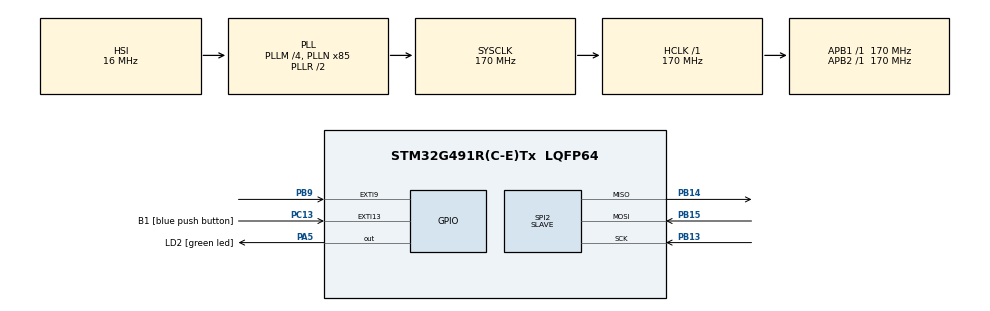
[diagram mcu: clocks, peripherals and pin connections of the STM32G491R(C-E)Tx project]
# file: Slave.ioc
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Dma.Request0=SPI2_RX
Dma.SPI2_RX.0.Direction=DMA_PERIPH_TO_MEMORY
Dma.SPI2_RX.0.EventEnable=DISABLE
Dma.SPI2_RX.0.Instance=DMA1_Channel1
Dma.SPI2_RX.0.MemDataAlignment=DMA_MDATAALIGN_BYTE
Dma.SPI2_RX.0.MemInc=DMA_MINC_ENABLE
Dma.SPI2_RX.0.Mode=DMA_NORMAL
Dma.SPI2_RX.0.PeriphDataAlignment=DMA_PDATAALIGN_BYTE
Dma.SPI2_RX.0.PeriphInc=DMA_PINC_DISABLE
Dma.SPI2_RX.0.Polarity=HAL_DMAMUX_REQ_GEN_RISING
Dma.SPI2_RX.0.Priority=DMA_PRIORITY_LOW
Dma.SPI2_RX.0.RequestNumber=1
Dma.SPI2_RX.0.SignalID=NONE
Dma.SPI2_RX.0.SyncEnable=DISABLE
Dma.SPI2_RX.0.SyncPolarity=HAL_DMAMUX_SYNC_NO_EVENT
Dma.SPI2_RX.0.SyncRequestNumber=1
Dma.SPI2_RX.0.SyncSignalID=NONE
Mcu.Family=STM32G4
Mcu.Name=STM32G491R(C-E)Tx
Mcu.Package=LQFP64
NVIC.DMA1_Channel1_IRQn=true\:0\:0\:false\:false\:true\:false\:true\:true
NVIC.EXTI15_10_IRQn=true\:0\:0\:false\:false\:true\:true\:true\:true
NVIC.EXTI9_5_IRQn=true\:0\:0\:false\:false\:true\:true\:true\:true
NVIC.PriorityGroup=NVIC_PRIORITYGROUP_4
NVIC.SPI2_IRQn=true\:0\:0\:false\:false\:true\:true\:true\:true
PA13.GPIO_Label=T_SWDIO
PA13.Signal=SYS_JTMS-SWDIO
PA14.GPIO_Label=T_SWCLK
PA14.Signal=SYS_JTCK-SWCLK
PA2.GPIO_Label=LPUART1_TX [STLINKV3E_VCP_RX]
PA2.Signal=LPUART1_TX
PA3.GPIO_Label=LPUART1_RX [STLINKV3E_VCP_TX]
PA3.Signal=LPUART1_RX
PA5.GPIO_Label=LD2 [green led]
PA5.Signal=GPIO_Output
PB13.Mode=Full_Duplex_Slave
PB13.Signal=SPI2_SCK
PB14.Mode=Full_Duplex_Slave
PB14.Signal=SPI2_MISO
PB15.Mode=Full_Duplex_Slave
PB15.Signal=SPI2_MOSI
PB3.GPIO_Label=T_SWO
PB3.Signal=SYS_JTDO-SWO
PB9.GPIO_ModeDefaultEXTI=GPIO_MODE_IT_FALLING
PB9.GPIO_PuPd=GPIO_PULLUP
PB9.Signal=GPXTI9
PC13.GPIO_Label=B1 [blue push button]
PC13.Signal=GPXTI13
PC14-OSC32_IN.GPIO_Label=RCC_OSC32_IN
PC14-OSC32_IN.Signal=RCC_OSC32_IN
PC15-OSC32_OUT.GPIO_Label=RCC_OSC32_OUT
PC15-OSC32_OUT.Signal=RCC_OSC32_OUT
PF0-OSC_IN.GPIO_Label=RCC_OSC_IN
PF0-OSC_IN.Signal=RCC_OSC_IN
PF1-OSC_OUT.GPIO_Label=RCC_OSC_OUT
PF1-OSC_OUT.Signal=RCC_OSC_OUT
ProjectManager.HeapSize=0x200
ProjectManager.StackSize=0x400
ProjectManager.TargetToolchain=STM32CubeIDE
RCC.ADC12Freq_Value=170000000
RCC.ADC345Freq_Value=170000000
RCC.AHBFreq_Value=170000000
RCC.APB1Freq_Value=170000000
RCC.APB1TimFreq_Value=170000000
RCC.APB2Freq_Value=170000000
RCC.APB2TimFreq_Value=170000000
RCC.CortexFreq_Value=170000000
RCC.EXTERNAL_CLOCK_VALUE=12288000
RCC.HCLKFreq_Value=170000000
RCC.HSE_VALUE=24000000
RCC.HSI48_VALUE=48000000
RCC.HSI_VALUE=16000000
RCC.LSE_VALUE=32768
RCC.PLLM=RCC_PLLM_DIV4
RCC.PLLN=85
RCC.RTCClockSelection=RCC_RTCCLKSOURCE_LSE
RCC.SYSCLKFreq_VALUE=170000000
RCC.SYSCLKSource=RCC_SYSCLKSOURCE_PLLCLK
RCC.USBFreq_Value=48000000
RCC.VCOOutputFreq_Value=340000000
SPI2.DataSize=SPI_DATASIZE_8BIT
SPI2.Direction=SPI_DIRECTION_2LINES
SPI2.Mode=SPI_MODE_SLAVE
SPI2.VirtualType=VM_SLAVE
VP_CRC_VS_CRC.Mode=CRC_Activate
VP_SYS_VS_DBSignals.Mode=DisableDeadBatterySignals
board=NUCLEO-G491RE

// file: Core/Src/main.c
/* SLAVE USER CODE BEGIN Header */
/**
  ******************************************************************************
  * @file           : main.c
  * @brief          : Main program body
  ******************************************************************************
  * @attention
  *
  * Copyright (c) 2026 STMicroelectronics.
  * All rights reserved.
  *
  * This software is licensed under terms that can be found in the LICENSE file
  * in the root directory of this software component.
  * If no LICENSE file comes with this software, it is provided AS-IS.
  *
  ******************************************************************************
  */
/* USER CODE END Header */
#include "main.h"

/* USER CODE BEGIN Includes */
#include <string.h>
/* USER CODE END Includes */

/* USER CODE BEGIN PTD */
#define DATA_SIZE 512

// Structure de la trame de 520 octets
typedef struct __attribute__((packed)) {
    uint8_t  cmd;           // 0x01: Write, 0x02: Erase, 0x03: Jump
    uint32_t addr;          // Adresse Flash de destination
    uint16_t len;           // Toujours 512
    uint8_t  data[DATA_SIZE]; // Les données à flasher
    uint8_t  crc;           // XOR de vérification
} SpiFrame_t;
/* USER CODE END PTD */

CRC_HandleTypeDef hcrc;

SPI_HandleTypeDef hspi2;
DMA_HandleTypeDef hdma_spi2_rx;

/* USER CODE BEGIN PV */
SpiFrame_t buffer_A;
SpiFrame_t buffer_B;

SpiFrame_t *dma_buffer = &buffer_A;
SpiFrame_t *cpu_buffer = &buffer_B;

volatile uint8_t rx_ready = 0; // Flag de réception

volatile uint8_t nss_triggered = 0;

volatile uint32_t dbg_exti_count = 0;     // Nombre de fois où le NSS (PB9) est descendu
volatile uint32_t dbg_rx_count = 0;       // Nombre de fois où le DMA a fini de recevoir 520 octets
volatile uint32_t dbg_success_count = 0;  // Nombre de trames parfaites (CRC et CMD OK)
volatile uint32_t dbg_crc_err_count = 0;  // Nombre d'erreurs de CRC
volatile uint32_t dbg_cmd_err_count = 0;  // Nombre de commandes inconnues
/* USER CODE END PV */

void SystemClock_Config(void);
static void MX_GPIO_Init(void);
static void MX_DMA_Init(void);
static void MX_SPI2_Init(void);
static void MX_CRC_Init(void);

/* USER CODE BEGIN 0 */
static HAL_StatusTypeDef Safe_Flash_Write(uint32_t target_addr, uint8_t *data_ptr, uint16_t length)
{
    HAL_FLASH_Unlock();
    __HAL_FLASH_CLEAR_FLAG(FLASH_FLAG_ALL_ERRORS);

    HAL_StatusTypeDef flash_status = HAL_OK;

    // Écrire par double-mots (8 octets)
    for (uint32_t i = 0; i < length; i += 8)
    {
        uint64_t double_word = 0;
        uint16_t to_copy = (length - i) >= 8 ? 8 : (length - i);
        memcpy(&double_word, &data_ptr[i], to_copy);

        flash_status = HAL_FLASH_Program(FLASH_TYPEPROGRAM_DOUBLEWORD,
                                        target_addr + i,
                                        double_word);

        if (flash_status != HAL_OK) {
            dbg_cmd_err_count = HAL_FLASH_GetError();
            break;
        }
    }

    HAL_FLASH_Lock();
    return flash_status;
}
/* USER CODE END 0 */

int main(void)
{

  /* MCU Configuration--------------------------------------------------------*/

  /* Reset of all peripherals, Initializes the Flash interface and the Systick. */
  HAL_Init();

  /* Configure the system clock */
  SystemClock_Config();

  /* Initialize all configured peripherals */
  MX_GPIO_Init();
  MX_DMA_Init();
  MX_SPI2_Init();
  MX_CRC_Init();
  /* USER CODE BEGIN 2 */
  HAL_SPI_Receive_DMA(&hspi2, (uint8_t*)dma_buffer, sizeof(SpiFrame_t));
  /* USER CODE END 2 */

  /* Infinite loop */
  /* USER CODE BEGIN WHILE */
  /* Infinite loop */
    /* USER CODE BEGIN WHILE */
    while (1)
    {
        /* --- BLOC 1 : TRAITEMENT DES DONNÉES REÇUES --- */
    	/* --- BLOC 1 : TRAITEMENT DES DONNÉES REÇUES --- */
    	    if (rx_ready)
    	    {
    	        // ✅ Calcul du CRC sur les 512 octets
    	        uint8_t calc_crc = 0;
    	        for(int i = 0; i < DATA_SIZE; i++) {
    	            calc_crc ^= cpu_buffer->data[i];
    	        }

    	        // ✅ Vérification d'intégrité
    	        if (calc_crc == cpu_buffer->crc)
    	        {
    	            uint32_t target_addr;
    	            memcpy(&target_addr, &cpu_buffer->addr, sizeof(uint32_t));

    	            // ✅ COMMANDE 0x01 : WRITE
    	            if (cpu_buffer->cmd == 0x01)
    	            {
    	                if (Safe_Flash_Write(target_addr, cpu_buffer->data, DATA_SIZE) == HAL_OK) {
    	                    dbg_success_count++;
    	                    HAL_GPIO_TogglePin(LD2_GPIO_Port, LD2_Pin);
    	                } else {
    	                    dbg_cmd_err_count++;
    	                }
    	            }

    	            // ✅ COMMANDE 0x02 : ERASE
    	            else if (cpu_buffer->cmd == 0x02)
    	            {
    	                HAL_FLASH_Unlock();
    	                __HAL_FLASH_CLEAR_FLAG(FLASH_FLAG_ALL_ERRORS);

    	                uint32_t page_number = (target_addr - 0x08000000) / FLASH_PAGE_SIZE;
    	                FLASH_EraseInitTypeDef EraseInitStruct = {
    	                    .TypeErase = FLASH_TYPEERASE_PAGES,
    	                    .Banks     = FLASH_BANK_1,
    	                    .Page      = page_number,
    	                    .NbPages   = 1
    	                };

    	                uint32_t PageError = 0;
    	                if (HAL_FLASHEx_Erase(&EraseInitStruct, &PageError) == HAL_OK) {
    	                    dbg_success_count++;
    	                    HAL_GPIO_WritePin(LD2_GPIO_Port, LD2_Pin, GPIO_PIN_SET);
    	                    HAL_Delay(5);
    	                    HAL_GPIO_WritePin(LD2_GPIO_Port, LD2_Pin, GPIO_PIN_RESET);
    	                } else {
    	                    dbg_cmd_err_count++;
    	                }
    	                HAL_FLASH_Lock();
    	            }

    	            // ✅ COMMANDE 0x04 : VERIFY
    	            else if (cpu_buffer->cmd == 0x04)
    	            {
    	                uint32_t total_len = cpu_buffer->len;
    	                uint32_t start_addr = target_addr;
    	                uint8_t slave_checksum = 0;

    	                // Calcul du XOR
    	                for (uint32_t i = 0; i < total_len; i++) {
    	                    slave_checksum ^= *(__IO uint8_t*)(start_addr + i);
    	                }

    	                // ✅ Attendre que le Master soit prêt à recevoir (NSS doit être BAS)
    	                // On utilise une petite boucle pour se synchroniser si le Master a fait un HAL_Delay
    	                uint32_t timeout = HAL_GetTick() + 100;
    	                while(HAL_GPIO_ReadPin(GPIOB, GPIO_PIN_9) == GPIO_PIN_SET && HAL_GetTick() < timeout);

    	                // Envoi au Master
    	                HAL_SPI_Transmit(&hspi2, &slave_checksum, 1, 50);
    	                dbg_success_count++;
    	            }
    	        }
    	        else
    	        {
    	            dbg_crc_err_count++;  // Erreur CRC détectée
    	        }

    	        // ✅ Libérer le flag seulement après traitement complet
    	        rx_ready = 0;
    	    }

    	    /* --- BLOC 2 : RELANCE DU DMA --- */

    	    if (nss_triggered && rx_ready == 0)
    	    {
    	        nss_triggered = 0;

    	        // 1. Arrêt propre du SPI pour réinitialiser les compteurs DMA internes
    	        HAL_SPI_Abort(&hspi2);

    	        // 2. Nettoyage des drapeaux d'erreur (crucial pour l'Overrun)
    	        __HAL_SPI_CLEAR_OVRFLAG(&hspi2);
    	        __HAL_SPI_CLEAR_FREFLAG(&hspi2);

    	        // 3. Vider le FIFO de réception (spécifique à la série G4)
    	        while(__HAL_SPI_GET_FLAG(&hspi2, SPI_FLAG_RXNE)) {
    	            volatile uint8_t dummy = hspi2.Instance->DR;
    	            (void)dummy;
    	        }

    	        // 4. Relancer la réception sur le buffer DMA
    	        HAL_SPI_Receive_DMA(&hspi2, (uint8_t*)dma_buffer, sizeof(SpiFrame_t));
    	    }

    /* USER CODE END WHILE */
    /* USER CODE BEGIN 3 */
    }
    /* USER CODE END 3 */ // <-- 1. FERMETURE DU "while (1)"
  /* USER CODE END 3 */
}

void SystemClock_Config(void)
{
  RCC_OscInitTypeDef RCC_OscInitStruct = {0};
  RCC_ClkInitTypeDef RCC_ClkInitStruct = {0};

  /** Configure the main internal regulator output voltage
  */
  HAL_PWREx_ControlVoltageScaling(PWR_REGULATOR_VOLTAGE_SCALE1_BOOST);

  /** Initializes the RCC Oscillators according to the specified parameters
  * in the RCC_OscInitTypeDef structure.
  */
  RCC_OscInitStruct.OscillatorType = RCC_OSCILLATORTYPE_HSI;
  RCC_OscInitStruct.HSIState = RCC_HSI_ON;
  RCC_OscInitStruct.HSICalibrationValue = RCC_HSICALIBRATION_DEFAULT;
  RCC_OscInitStruct.PLL.PLLState = RCC_PLL_ON;
  RCC_OscInitStruct.PLL.PLLSource = RCC_PLLSOURCE_HSI;
  RCC_OscInitStruct.PLL.PLLM = RCC_PLLM_DIV4;
  RCC_OscInitStruct.PLL.PLLN = 85;
  RCC_OscInitStruct.PLL.PLLP = RCC_PLLP_DIV2;
  RCC_OscInitStruct.PLL.PLLQ = RCC_PLLQ_DIV2;
  RCC_OscInitStruct.PLL.PLLR = RCC_PLLR_DIV2;
  if (HAL_RCC_OscConfig(&RCC_OscInitStruct) != HAL_OK)
  {
    Error_Handler();
  }

  /** Initializes the CPU, AHB and APB buses clocks
  */
  RCC_ClkInitStruct.ClockType = RCC_CLOCKTYPE_HCLK|RCC_CLOCKTYPE_SYSCLK
                              |RCC_CLOCKTYPE_PCLK1|RCC_CLOCKTYPE_PCLK2;
  RCC_ClkInitStruct.SYSCLKSource = RCC_SYSCLKSOURCE_PLLCLK;
  RCC_ClkInitStruct.AHBCLKDivider = RCC_SYSCLK_DIV1;
  RCC_ClkInitStruct.APB1CLKDivider = RCC_HCLK_DIV1;
  RCC_ClkInitStruct.APB2CLKDivider = RCC_HCLK_DIV1;

  if (HAL_RCC_ClockConfig(&RCC_ClkInitStruct, FLASH_LATENCY_4) != HAL_OK)
  {
    Error_Handler();
  }
}

static void MX_CRC_Init(void)
{

  hcrc.Instance = CRC;
  hcrc.Init.DefaultPolynomialUse = DEFAULT_POLYNOMIAL_ENABLE;
  hcrc.Init.DefaultInitValueUse = DEFAULT_INIT_VALUE_ENABLE;
  hcrc.Init.InputDataInversionMode = CRC_INPUTDATA_INVERSION_NONE;
  hcrc.Init.OutputDataInversionMode = CRC_OUTPUTDATA_INVERSION_DISABLE;
  hcrc.InputDataFormat = CRC_INPUTDATA_FORMAT_BYTES;
  if (HAL_CRC_Init(&hcrc) != HAL_OK)
  {
    Error_Handler();
  }

}

static void MX_SPI2_Init(void)
{

  /* SPI2 parameter configuration*/
  hspi2.Instance = SPI2;
  hspi2.Init.Mode = SPI_MODE_SLAVE;
  hspi2.Init.Direction = SPI_DIRECTION_2LINES;
  hspi2.Init.DataSize = SPI_DATASIZE_8BIT;
  hspi2.Init.CLKPolarity = SPI_POLARITY_LOW;
  hspi2.Init.CLKPhase = SPI_PHASE_1EDGE;
  hspi2.Init.NSS = SPI_NSS_SOFT;
  hspi2.Init.FirstBit = SPI_FIRSTBIT_MSB;
  hspi2.Init.TIMode = SPI_TIMODE_DISABLE;
  hspi2.Init.CRCCalculation = SPI_CRCCALCULATION_DISABLE;
  hspi2.Init.CRCPolynomial = 7;
  hspi2.Init.CRCLength = SPI_CRC_LENGTH_DATASIZE;
  hspi2.Init.NSSPMode = SPI_NSS_PULSE_DISABLE;
  if (HAL_SPI_Init(&hspi2) != HAL_OK)
  {
    Error_Handler();
  }

}

static void MX_DMA_Init(void)
{

  /* DMA controller clock enable */
  __HAL_RCC_DMAMUX1_CLK_ENABLE();
  __HAL_RCC_DMA1_CLK_ENABLE();

  /* DMA interrupt init */
  /* DMA1_Channel1_IRQn interrupt configuration */
  HAL_NVIC_SetPriority(DMA1_Channel1_IRQn, 0, 0);
  HAL_NVIC_EnableIRQ(DMA1_Channel1_IRQn);

}

static void MX_GPIO_Init(void)
{
  GPIO_InitTypeDef GPIO_InitStruct = {0};

  /* GPIO Ports Clock Enable */
  __HAL_RCC_GPIOC_CLK_ENABLE();
  __HAL_RCC_GPIOF_CLK_ENABLE();
  __HAL_RCC_GPIOA_CLK_ENABLE();
  __HAL_RCC_GPIOB_CLK_ENABLE();

  /*Configure GPIO pin Output Level */
  HAL_GPIO_WritePin(LD2_GPIO_Port, LD2_Pin, GPIO_PIN_RESET);

  /*Configure GPIO pin : B1_Pin */
  GPIO_InitStruct.Pin = B1_Pin;
  GPIO_InitStruct.Mode = GPIO_MODE_IT_RISING;
  GPIO_InitStruct.Pull = GPIO_NOPULL;
  HAL_GPIO_Init(B1_GPIO_Port, &GPIO_InitStruct);

  /*Configure GPIO pins : LPUART1_TX_Pin LPUART1_RX_Pin */
  GPIO_InitStruct.Pin = LPUART1_TX_Pin|LPUART1_RX_Pin;
  GPIO_InitStruct.Mode = GPIO_MODE_AF_PP;
  GPIO_InitStruct.Pull = GPIO_NOPULL;
  GPIO_InitStruct.Speed = GPIO_SPEED_FREQ_LOW;
  GPIO_InitStruct.Alternate = GPIO_AF12_LPUART1;
  HAL_GPIO_Init(GPIOA, &GPIO_InitStruct);

  /*Configure GPIO pin : LD2_Pin */
  GPIO_InitStruct.Pin = LD2_Pin;
  GPIO_InitStruct.Mode = GPIO_MODE_OUTPUT_PP;
  GPIO_InitStruct.Pull = GPIO_NOPULL;
  GPIO_InitStruct.Speed = GPIO_SPEED_FREQ_LOW;
  HAL_GPIO_Init(LD2_GPIO_Port, &GPIO_InitStruct);

  /*Configure GPIO pin : PB9 */
  GPIO_InitStruct.Pin = GPIO_PIN_9;
  GPIO_InitStruct.Mode = GPIO_MODE_IT_FALLING;
  GPIO_InitStruct.Pull = GPIO_PULLUP;
  HAL_GPIO_Init(GPIOB, &GPIO_InitStruct);

  /* EXTI interrupt init*/
  HAL_NVIC_SetPriority(EXTI9_5_IRQn, 0, 0);
  HAL_NVIC_EnableIRQ(EXTI9_5_IRQn);

  HAL_NVIC_SetPriority(EXTI15_10_IRQn, 0, 0);
  HAL_NVIC_EnableIRQ(EXTI15_10_IRQn);

}

/* USER CODE BEGIN 4 */
void HAL_GPIO_EXTI_Callback(uint16_t GPIO_Pin)
{
    if (GPIO_Pin == GPIO_PIN_9)
    {
        if (HAL_GPIO_ReadPin(GPIOB, GPIO_PIN_9) == GPIO_PIN_RESET)
        {
            static uint32_t last_exti_time = 0;
            uint32_t now = HAL_GetTick();

            // ✅ Debounce simple
            if ((now - last_exti_time) > 10)
            {
                last_exti_time = now;
                nss_triggered = 1;
                dbg_exti_count++;
            }
        }
    }
}

void HAL_SPI_RxCpltCallback(SPI_HandleTypeDef *hspi)
{
    if (hspi->Instance == SPI2)
    {
        dbg_rx_count++;

        // Échange des buffers
        SpiFrame_t *temp = dma_buffer;
        dma_buffer = cpu_buffer;
        cpu_buffer = temp;

        // Signaler que les données sont prêtes
        rx_ready = 1;
    }
}
/* USER CODE END 4 */

void Error_Handler(void)
{
  __disable_irq();
  while (1)
  {
  }
}
